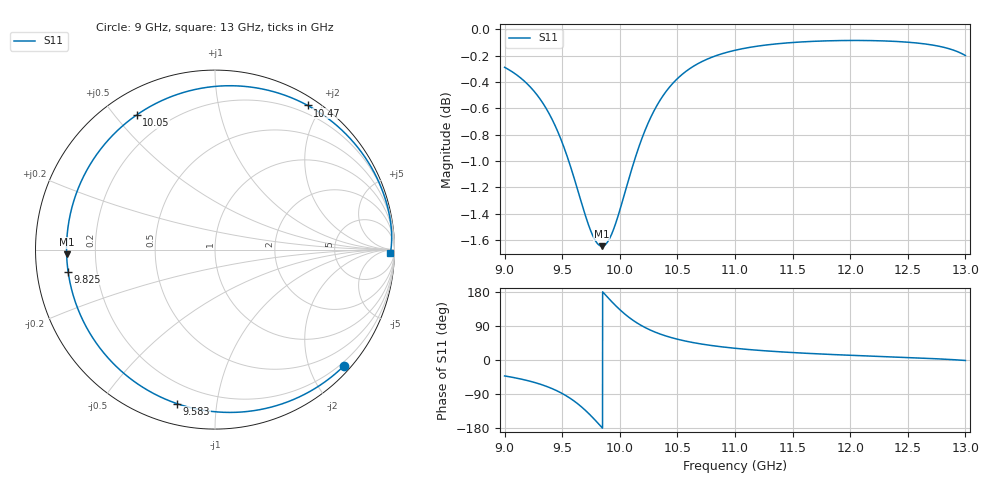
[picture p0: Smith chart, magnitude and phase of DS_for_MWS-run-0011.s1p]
! TOUCHSTONE file generated by CST DESIGN STUDIO
! Date and time: Tue Feb  4 18:13:35 2025
! Project name: C:\Work\MatlabApps\UnitCellOptimizationMatlab\CST\unitcell.cst
! Tree item: Tasks\Sweep1\SPara1\S-Parameters
! Header version: 2024
! Port assignment regex: !\s*Touchstone port\s*([0-9]+)\s*=\s*(CST MWS port|CST DES external port|CST DES block port)\s*(.+)\s* \(\"(.*)\"\)(\s*mode\s*([0-9]+))?.*
! Touchstone port assignment:
! Touchstone port 1 = CST DES external port 1 ("")
# GHz S MA R 50
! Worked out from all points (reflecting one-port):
!   4001 points, 9 GHz to 13 GHz, reference 50 ohm
!   lowest |S11| = -1.6 dB at 9.845 GHz (marker M1), VSWR 10.57, Z = 4.73 - j0.799 ohm
!   phase of S11 starts at -42 deg and turns -319 deg over the sweep
!   S11 on the Smith chart (normalised r, x): 9 GHz: 0.13, -2.60; 9.583 GHz: 0.10, -0.78; 9.825 GHz: 0.09, -0.07; 10.05 GHz: 0.09, +0.57; 10.47 GHz: 0.10, +1.83; 13 GHz: 46, -44
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9  0.9674 -42.1
9.147  0.9578 -50.6
9.279  0.9446 -61.0
9.393  0.9278 -73.1
9.5  0.9057 -88.4
9.583  0.8839 -103.9
9.644  0.8661 -117.8
9.701  0.8498 -132.8
9.768  0.8343 -152.9
9.825  0.8277 -171.5
9.845  0.8272 -178.2
9.88  0.8288 170.2
9.917  0.8337 158.1
9.96  0.8428 144.6
10  0.8536 132.9
10.048  0.868 120.1
10.122  0.8903 103.3
10.208  0.9129 87.5
10.332  0.9372 70.5
10.469  0.9549 57.3
10.5  0.9579 54.9
10.601  0.9659 48.0
10.716  0.9724 41.8
11  0.982 30.9
11.5  0.9887 19.6
12  0.9904 12.4
12.5  0.9889 6.5
13  0.9775 -1.3
